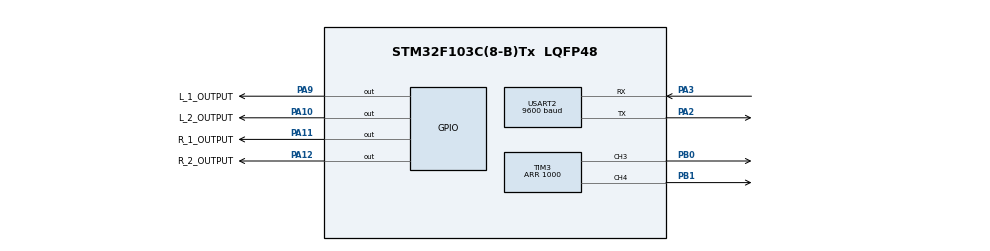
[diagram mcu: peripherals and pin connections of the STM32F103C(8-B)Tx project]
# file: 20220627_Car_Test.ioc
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Mcu.Family=STM32F1
Mcu.Name=STM32F103C(8-B)Tx
Mcu.Package=LQFP48
NVIC.PriorityGroup=NVIC_PRIORITYGROUP_4
PA10.GPIO_Label=L_2_OUTPUT
PA10.Signal=GPIO_Output
PA11.GPIO_Label=R_1_OUTPUT
PA11.Signal=GPIO_Output
PA12.GPIO_Label=R_2_OUTPUT
PA12.Signal=GPIO_Output
PA13.Mode=Serial_Wire
PA13.Signal=SYS_JTMS-SWDIO
PA14.Mode=Serial_Wire
PA14.Signal=SYS_JTCK-SWCLK
PA2.Mode=Asynchronous
PA2.Signal=USART2_TX
PA3.Mode=Asynchronous
PA3.Signal=USART2_RX
PA9.GPIO_Label=L_1_OUTPUT
PA9.Signal=GPIO_Output
PB0.Signal=S_TIM3_CH3
PB1.Signal=S_TIM3_CH4
PD0-OSC_IN.Mode=HSE-External-Oscillator
PD0-OSC_IN.Signal=RCC_OSC_IN
PD1-OSC_OUT.Mode=HSE-External-Oscillator
PD1-OSC_OUT.Signal=RCC_OSC_OUT
ProjectManager.HeapSize=0x200
ProjectManager.StackSize=0x400
ProjectManager.TargetToolchain=STM32CubeIDE
RCC.APB1CLKDivider=RCC_HCLK_DIV16
RCC.APB1Freq_Value=500000
RCC.APB1TimFreq_Value=1000000
RCC.APB2Freq_Value=8000000
RCC.SYSCLKSource=RCC_SYSCLKSOURCE_HSE
SH.S_TIM3_CH3.0=TIM3_CH3,PWM Generation3 CH3
SH.S_TIM3_CH4.0=TIM3_CH4,PWM Generation4 CH4
TIM3.AutoReloadPreload=TIM_AUTORELOAD_PRELOAD_ENABLE
TIM3.Channel-PWM\ Generation3\ CH3=TIM_CHANNEL_3
TIM3.Channel-PWM\ Generation4\ CH4=TIM_CHANNEL_4
TIM3.Period=1000
USART2.BaudRate=9600
USART2.VirtualMode=VM_ASYNC
VP_TIM3_VS_ClockSourceINT.Mode=Internal
board=custom

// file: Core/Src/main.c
/* USER CODE BEGIN Header */
/**
 ******************************************************************************
 * @file           : main.c
 * @brief          : Main program body
 ******************************************************************************
 * @attention
 *
 * Copyright (c) 2022 STMicroelectronics.
 * All rights reserved.
 *
 * This software is licensed under terms that can be found in the LICENSE file
 * in the root directory of this software component.
 * If no LICENSE file comes with this software, it is provided AS-IS.
 *
 ******************************************************************************
 */
/* USER CODE END Header */
#include "main.h"
#include "tim.h"
#include "usart.h"
#include "gpio.h"

/* USER CODE BEGIN PD */
void Left_Forward(void);
void Right_Forward(void);

void Left_Backward(void);
void Right_Backward(void);

void Left_Stop(void);
void Right_Stop(void);

void Forward(void);
void Backward(void);
void Stop(void);
void Left_Rot(void);
void Right_Rot(void);
void Left_Turn(void);
void Right_Turn(void);

void Speed_Up(void);
void Speed_Down(void);

void Fixed_Speed(void);
//void Left_Turn_Speed(void);
//void Right_Turn_Speed(void);
/* USER CODE END PD */

/* USER CODE BEGIN PV */
uint16_t Speed = 500;		//Start with half speed
uint8_t CTRL = 0;			//Control signal through Bluetooth
uint8_t MSG[4] = {'\0'};
/* USER CODE END PV */

void SystemClock_Config(void);

int main(void)
{

	/* MCU Configuration--------------------------------------------------------*/

	/* Reset of all peripherals, Initializes the Flash interface and the Systick. */
	HAL_Init();

	/* Configure the system clock */
	SystemClock_Config();

	/* Initialize all configured peripherals */
	MX_GPIO_Init();
	MX_TIM3_Init();
	MX_USART2_UART_Init();
	/* USER CODE BEGIN 2 */
	HAL_TIM_PWM_Start(&htim3, TIM_CHANNEL_3);
	HAL_TIM_PWM_Start(&htim3, TIM_CHANNEL_4);
	/* USER CODE END 2 */

	/* Infiniteloop */
	while (1)
	{

		/* USER CODE BEGIN 3 */

		HAL_UART_Receive(&huart2, &CTRL, 1, HAL_MAX_DELAY);
		switch (CTRL)
		{
		case 'F':
			Forward();
			break;

		case 'B':
			Backward();
			break;

		case 'S':
			Stop();
			break;

		case 'L':
			Left_Rot();
			break;

		case 'R':
			Right_Rot();
			break;

		case 'G':
			Left_Turn();
			break;

		case 'I':
			Right_Turn();
			break;

		case 'U':
			Speed_Up();
			sprintf(MSG,"%d\n",Speed);
			HAL_UART_Transmit(&huart2, MSG, 4, HAL_MAX_DELAY);
			break;

		case 'D':
			Speed_Down();
			sprintf(MSG,"%d\n",Speed);
			HAL_UART_Transmit(&huart2, MSG, 4, HAL_MAX_DELAY);
			break;
		}
	}
	/* USER CODE END 3 */
}

void SystemClock_Config(void)
{
	RCC_OscInitTypeDef RCC_OscInitStruct = {0};
	RCC_ClkInitTypeDef RCC_ClkInitStruct = {0};

	/** Initializes the RCC Oscillators according to the specified parameters
	 * in the RCC_OscInitTypeDef structure.
	 */
	RCC_OscInitStruct.OscillatorType = RCC_OSCILLATORTYPE_HSE;
	RCC_OscInitStruct.HSEState = RCC_HSE_ON;
	RCC_OscInitStruct.PLL.PLLState = RCC_PLL_NONE;
	if (HAL_RCC_OscConfig(&RCC_OscInitStruct) != HAL_OK)
	{
		Error_Handler();
	}
	/** Initializes the CPU, AHB and APB buses clocks
	 */
	RCC_ClkInitStruct.ClockType = RCC_CLOCKTYPE_HCLK|RCC_CLOCKTYPE_SYSCLK
			|RCC_CLOCKTYPE_PCLK1|RCC_CLOCKTYPE_PCLK2;
	RCC_ClkInitStruct.SYSCLKSource = RCC_SYSCLKSOURCE_HSE;
	RCC_ClkInitStruct.AHBCLKDivider = RCC_SYSCLK_DIV1;
	RCC_ClkInitStruct.APB1CLKDivider = RCC_HCLK_DIV16;
	RCC_ClkInitStruct.APB2CLKDivider = RCC_HCLK_DIV1;

	if (HAL_RCC_ClockConfig(&RCC_ClkInitStruct, FLASH_LATENCY_0) != HAL_OK)
	{
		Error_Handler();
	}
}

/* USER CODE BEGIN 4 */
void Left_Forward(void)
{
	L1_State(GPIO_PIN_RESET);
	L2_State(GPIO_PIN_SET);
}
void Right_Forward(void)
{
	R1_State(GPIO_PIN_RESET);
	R2_State(GPIO_PIN_SET);
}

void Left_Backward(void)
{
	L1_State(GPIO_PIN_SET);
	L2_State(GPIO_PIN_RESET);
}
void Right_Backward(void)
{
	R1_State(GPIO_PIN_SET);
	R2_State(GPIO_PIN_RESET);
}

void Left_Stop(void)
{
	L1_State(GPIO_PIN_RESET);
	L2_State(GPIO_PIN_RESET);
}
void Right_Stop(void)
{
	R1_State(GPIO_PIN_RESET);
	R2_State(GPIO_PIN_RESET);
}

void Forward(void)
{
	Fixed_Speed();
	Left_Forward();
	Right_Forward();
}
void Backward(void)
{
	Fixed_Speed();
	Left_Backward();
	Right_Backward();
}
void Stop(void)
{
	Left_Stop();
	Right_Stop();
}
void Left_Rot(void)
{
	Fixed_Speed();
	Left_Backward();
	Right_Forward();
}
void Right_Rot(void)
{
	Fixed_Speed();
	Left_Forward();
	Right_Backward();
}
void Left_Turn(void)
{
	Left_Stop();
	Right_Forward();
}
void Right_Turn(void)
{
	Right_Stop();
	Left_Forward();
}

void Speed_Up(void)
{
	if (Speed >= 1000)
	{
		Speed = 1000;
	}
	else
	{
		Speed += 100;
	}
	Fixed_Speed();
}
void Speed_Down(void)
{
	if (Speed <= 100)
	{
		Speed = 100;
	}
	else
	{
		Speed -= 100;
	}
	Fixed_Speed();
}
void Fixed_Speed(void)
{
	TIM3->CCR3 = Speed;
	TIM3->CCR4 = Speed;
}
//void Left_Turn_Speed(void)
//{
//	if (Speed >= 1000)
//	{
//		TIM3->CCR4 = Speed - 600;
//	}
//	else
//	{
//		TIM3->CCR3 = Speed + 600;
//	}
//}
//void Right_Turn_Speed(void)
//{
//	if (Speed >= 1000)
//	{
//		TIM3->CCR3 = Speed - 600;
//	}
//	else
//	{
//		TIM3->CCR4 = Speed + 600;
//	}
//}
/* USER CODE END 4 */

void Error_Handler(void)
{
	__disable_irq();
	while (1)
	{
	}
}
